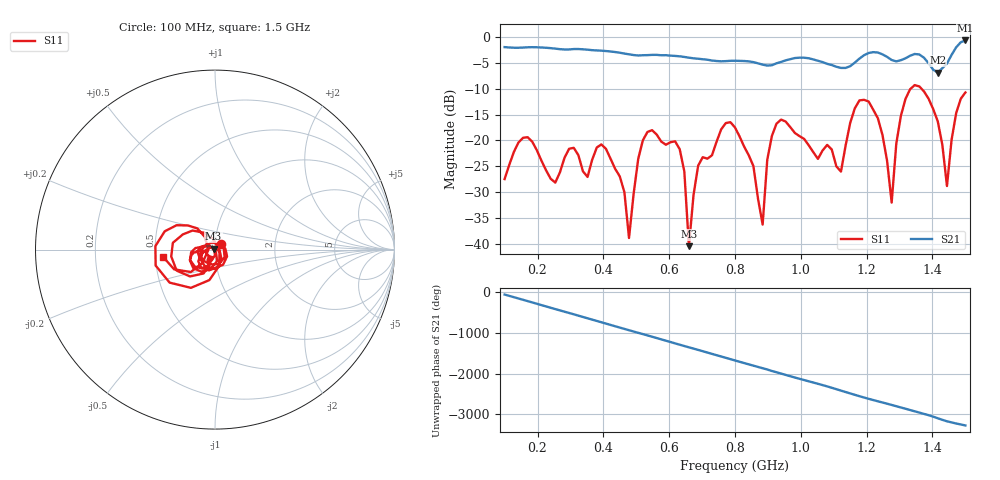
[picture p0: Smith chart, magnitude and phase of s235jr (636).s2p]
! NanoVNA-App
! Date: 2025-09-25 15:09:07
! Start: 100MHz Stop: 1,5GHz Points: 101
! S-Parameter data: F S11 S21 S12 S22
# Hz S RI R 50
!  Frequency  S11_Real  S11_Imag  S21_Real  S21_Imag  S12_Real  S12_Imag  S22_Real  S22_Imag
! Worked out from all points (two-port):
!   101 points, 100 MHz to 1.5 GHz, reference 50 ohm
!   highest |S21| = -0.68 dB at 1.5 GHz (marker M1); lowest = -6.9 dB at 1.416 GHz (marker M2)
!   |S21| within 3 dB of the highest: start of sweep to 620.2 MHz; 1.189 GHz to 1.257 GHz (68.04 MHz wide, 5.56 % of centre) (the widest 2 of 4)
!   lowest |S11| = -40.4 dB at 660 MHz (marker M3), VSWR 1.02, Z = 49.2 + j0.551 ohm
!   |S11| at or under -10 dB: start of sweep to 1.334 GHz; 1.366 GHz to end of sweep
!   S12 and S22 are empty: the file has one direction only
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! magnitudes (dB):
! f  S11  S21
! 100 MHz  -27.5  -2.0
! 170 MHz  -19.4  -2.0
! 338 MHz  -26.0  -2.4
! 408 MHz  -21.6  -2.7
! 478 MHz  -38.9  -3.4
! 520 MHz  -20.0  -3.5
! 576 MHz  -20.2  -3.5
! 632 MHz  -21.7  -3.7
! 660 MHz  -40.4  -4.0
! 688 MHz  -24.9  -4.2
! 800 MHz  -17.5  -4.6
! 884 MHz  -36.3  -5.4
! 898 MHz  -23.7  -5.5
! 926 MHz  -16.8  -5.1
! 1.038 GHz  -22.3  -4.3
! 1.122 GHz  -26.0  -6.0
! 1.206 GHz  -12.5  -3.1
! 1.276 GHz  -32.0  -4.5
! 1.332 GHz  -10.1  -3.6
! 1.416 GHz  -16.3  -6.9
! 1.444 GHz  -28.8  -5.1
! 1.5 GHz  -10.7  -0.7
